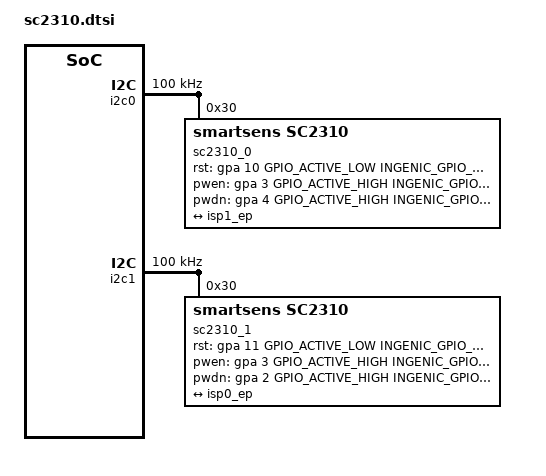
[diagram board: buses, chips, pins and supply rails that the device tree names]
&i2c0 {
	status = "okay";
	clock-frequency = <100000>;
	timeout = <1000>;
	pinctrl-names = "default";
	pinctrl-0 = <&i2c0_pa>;

	/*RD_X2000_HALLEY5_CAMERA_V3.2*/
	sc2310_0:sc2310@0x30 {
		status = "ok";
		compatible = "smartsens,sc2310";
		reg = <0x30>;
		pinctrl-names = "default";
		pinctrl-0 = <&cim1_vic_mclk_pc>;

		ingenic,mclk = <1>;
		ingenic,rst-gpio = <&gpa 10 GPIO_ACTIVE_LOW INGENIC_GPIO_NOBIAS>;
		/*
		ingenic,ircutp-gpio = <&gpb 7 GPIO_ACTIVE_HIGH INGENIC_GPIO_NOBIAS>;
		ingenic,ircutn-gpio = <&gpb 1 GPIO_ACTIVE_LOW INGENIC_GPIO_NOBIAS>;

		*/
 		ingenic,pwen-gpio = <&gpa 3  GPIO_ACTIVE_HIGH INGENIC_GPIO_NOBIAS>;	//module power-enable
		ingenic,pwdn-gpio = <&gpa 4 GPIO_ACTIVE_HIGH INGENIC_GPIO_NOBIAS>;	// sensor power down

		port {
			sc2310_ep0:endpoint {
				remote-endpoint = <&isp1_ep>;
			};
		};
	};
};


&i2c1 {
	status = "okay";
	clock-frequency = <100000>;
	timeout = <1000>;
	pinctrl-names = "default";
	pinctrl-0 = <&i2c1_pa>;

	/*RD_X2000_HALLEY5_CAMERA_V3.2*/
	sc2310_1:sc2310@0x30 {
		status = "ok";
		compatible = "smartsens,sc2310";
		reg = <0x30>;
		pinctrl-names = "default";
		pinctrl-0 = <&cim0_vic_mclk_pc>;

		ingenic,mclk = <0>;
		ingenic,rst-gpio = <&gpa 11 GPIO_ACTIVE_LOW INGENIC_GPIO_NOBIAS>;
		/*
		ingenic,ircutp-gpio = <&gpb 7 GPIO_ACTIVE_HIGH INGENIC_GPIO_NOBIAS>;
		ingenic,ircutn-gpio = <&gpb 1 GPIO_ACTIVE_LOW INGENIC_GPIO_NOBIAS>;
		*/
		ingenic,pwen-gpio = <&gpa 3  GPIO_ACTIVE_HIGH INGENIC_GPIO_NOBIAS>;	//module power-enable
		ingenic,pwdn-gpio = <&gpa 2 GPIO_ACTIVE_HIGH INGENIC_GPIO_NOBIAS>;	// sensor power down

		port {
			sc2310_ep1:endpoint {
				remote-endpoint = <&isp0_ep>;
			};
		};
	};
};


&isp0_ep {
	remote-endpoint = <&sc2310_ep1>;
	data-lanes = <0 1>;
	clk-lanes = <2>;
};

&isp1_ep {
	remote-endpoint = <&sc2310_ep0>;
	data-lanes = <3 4>;
	clk-lanes = <5>;
};

